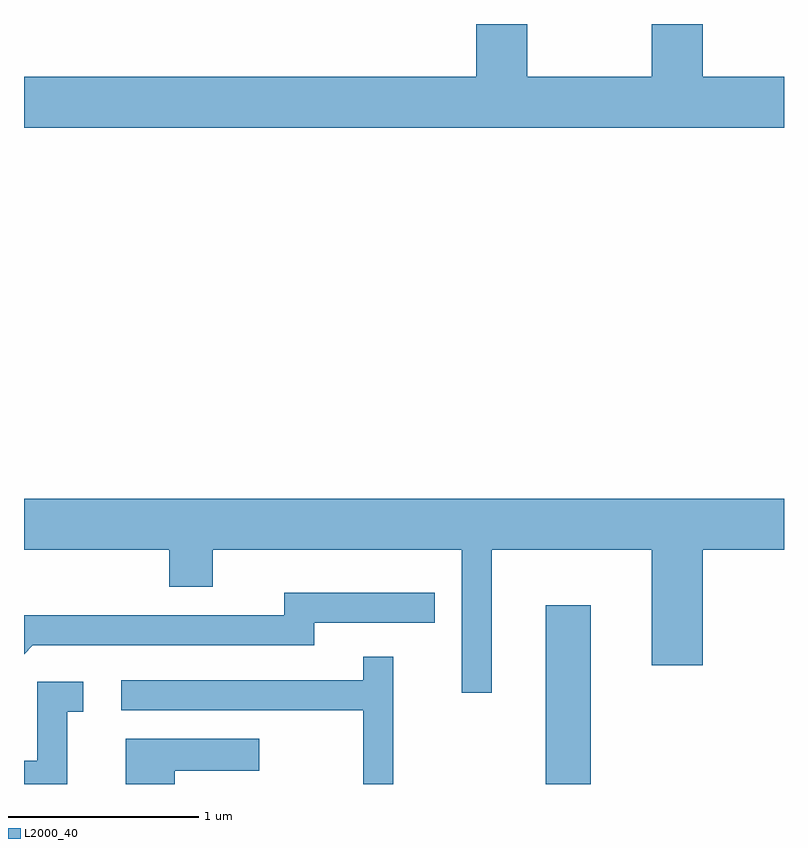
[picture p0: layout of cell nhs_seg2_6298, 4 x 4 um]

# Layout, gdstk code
import gdstk
lib = gdstk.Library(unit=1e-6, precision=1e-09)
def R(c, l, rs):  # rectangles x0, y0, x1, y1
    for r in rs: c.add(gdstk.rectangle(r[:2], r[2:], *l))
def P(c, l, *ps):  # polygons
    for p in ps: c.add(gdstk.Polygon(p, *l))
L2000_40 = (2000, 40)

nhs_seg2_6298 = lib.new_cell('nhs_seg2_6298')
R(nhs_seg2_6298, L2000_40, [(374.356,993.802,374.594,994.744)])
P(nhs_seg2_6298, L2000_40, [(374.916,997.802),(374.916,997.524),(374.259,997.524),(374.259,997.802),(373.991,997.802),(373.991,997.524),(371.611,997.524),(371.611,997.256),(375.611,997.256),(375.611,997.524),(375.184,997.524),(375.184,997.802)],
  [(374.074,995.036),(374.916,995.036),(374.916,994.426),(375.184,994.426),(375.184,995.036),(375.611,995.036),(375.611,995.304),(371.611,995.304),(371.611,995.036),(372.376,995.036),(372.376,994.841),(372.604,994.841),(372.604,995.036),(373.916,995.036),(373.916,994.283),(374.074,994.283)],
  [(371.657,994.531),(373.139,994.531),(373.139,994.651),(373.773,994.651),(373.773,994.809),(372.981,994.809),(372.981,994.689),(371.611,994.689),(371.611,994.485)],
  [(373.554,994.473),(373.396,994.473),(373.396,994.349),(372.123,994.349),(372.123,994.191),(373.396,994.191),(373.396,993.802),(373.554,993.802)],
  [(371.839,994.181),(371.923,994.181),(371.923,994.339),(371.681,994.339),(371.681,993.924),(371.611,993.924),(371.611,993.802),(371.839,993.802)],
  [(372.404,993.871),(372.848,993.871),(372.848,994.039),(372.146,994.039),(372.146,993.802),(372.404,993.802)])

lib.write_gds('nhs_seg2_6298.gds')
